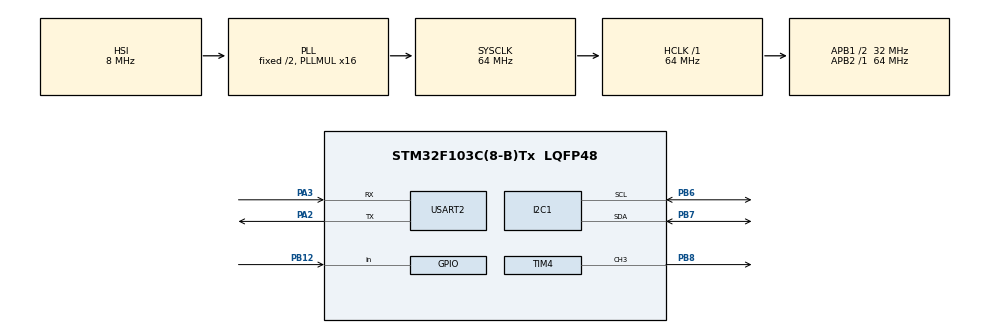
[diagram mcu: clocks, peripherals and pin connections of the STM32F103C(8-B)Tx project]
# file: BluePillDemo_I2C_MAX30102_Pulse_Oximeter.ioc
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I2C1.I2C_Mode=I2C_Fast
Mcu.Family=STM32F1
Mcu.Name=STM32F103C(8-B)Tx
Mcu.Package=LQFP48
NVIC.PriorityGroup=NVIC_PRIORITYGROUP_4
PA13.Mode=Serial_Wire
PA13.Signal=SYS_JTMS-SWDIO
PA14.Mode=Serial_Wire
PA14.Signal=SYS_JTCK-SWCLK
PA2.Mode=Asynchronous
PA2.Signal=USART2_TX
PA3.Mode=Asynchronous
PA3.Signal=USART2_RX
PB12.Signal=GPIO_Input
PB6.Mode=I2C
PB6.Signal=I2C1_SCL
PB7.Mode=I2C
PB7.Signal=I2C1_SDA
PB8.Signal=S_TIM4_CH3
ProjectManager.HeapSize=0x200
ProjectManager.StackSize=0x400
ProjectManager.TargetToolchain=STM32CubeIDE
RCC.AHBFreq_Value=64000000
RCC.APB1CLKDivider=RCC_HCLK_DIV2
RCC.APB1Freq_Value=32000000
RCC.APB1TimFreq_Value=64000000
RCC.APB2Freq_Value=64000000
RCC.APB2TimFreq_Value=64000000
RCC.HCLKFreq_Value=64000000
RCC.PLLMUL=RCC_PLL_MUL16
RCC.SYSCLKFreq_VALUE=64000000
RCC.SYSCLKSource=RCC_SYSCLKSOURCE_PLLCLK
RCC.USBFreq_Value=64000000
SH.S_TIM4_CH3.0=TIM4_CH3,PWM Generation3 CH3
TIM4.Channel-PWM\ Generation3\ CH3=TIM_CHANNEL_3
TIM4.Period=500
TIM4.Prescaler=1
TIM4.Pulse-PWM\ Generation3\ CH3=350
USART2.VirtualMode=VM_ASYNC
board=custom

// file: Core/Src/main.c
/* USER CODE BEGIN Header */
/**
  ******************************************************************************
  * @file           : main.c
  * @brief          : Main program body
  ******************************************************************************
  * @attention
  *
  * <h2><center>&copy; Copyright (c) 2020 STMicroelectronics.
  * All rights reserved.</center></h2>
  *
  * This software component is licensed by ST under BSD 3-Clause license,
  * the "License"; You may not use this file except in compliance with the
  * License. You may obtain a copy of the License at:
  *                        opensource.org/licenses/BSD-3-Clause
  *
  ******************************************************************************
  */
/* USER CODE END Header */

#include "main.h"

/* USER CODE BEGIN Includes */
#include <stdbool.h>
#include <stdint.h>
#include <string.h>
#include "MAX30102.h"
#include "printf.h"
#include "algorithm_by_RF.h"

/* USER CODE END Includes */

/* USER CODE BEGIN PM */
#define MAX_BRIGHTNESS 		255U
#define MY_SNPRINTF 		snprintf	// newlib snprintf with float support is too heavy and not threadsafe so using local snprintf from printf.c
										// but this causes a compile warning that float support is off so use this macro to prevent it
#define FAKE_MAX30102_CLONE				// if you have a fake Chinese cloned MAX30102 define this

/* USER CODE END PM */

I2C_HandleTypeDef hi2c1;

TIM_HandleTypeDef htim4;

UART_HandleTypeDef huart2;

/* USER CODE BEGIN PV */
static uint32_t aun_ir_buffer[BUFFER_SIZE]; //infrared LED sensor data
static uint32_t aun_red_buffer[BUFFER_SIZE];  //red LED sensor data

/* USER CODE END PV */

void SystemClock_Config(void);
static void MX_GPIO_Init(void);
static void MX_I2C1_Init(void);
static void MX_TIM4_Init(void);
static void MX_USART2_UART_Init(void);
/* USER CODE BEGIN PFP */
static void Max30102Setup(void);
static void Max30102Loop(void);
static void DebugPrint(const char *text);
void SetPwmDutyCycle(uint8_t percent);

/* USER CODE END PFP */

/* USER CODE BEGIN 0 */
static void DebugPrint(const char *text)
{
  HAL_UART_Transmit(&huart2, (uint8_t *)text, strlen(text), 100U);
}

void SetPwmDutyCycle(uint8_t percent)
{
  TIM_OC_InitTypeDef sConfigOC = {0};

  sConfigOC.OCMode = TIM_OCMODE_PWM1;
  sConfigOC.Pulse = percent * 5U;
  sConfigOC.OCPolarity = TIM_OCPOLARITY_HIGH;
  sConfigOC.OCFastMode = TIM_OCFAST_DISABLE;
  HAL_TIM_PWM_ConfigChannel(&htim4, &sConfigOC, TIM_CHANNEL_3);
  HAL_TIM_PWM_Start(&htim4, TIM_CHANNEL_3);
}

void Max30102Setup()
{
  uint8_t uch_dummy;

  maxim_max30102_reset();
  maxim_max30102_read_reg(REG_INTR_STATUS_1, &uch_dummy);  // reads/clears the interrupt status register
  maxim_max30102_init();
}

// Takes samples from MAX30102.  Heart rate and SpO2 are calculated every ST seconds
void Max30102Loop()
{
  char buf[20];
  float n_spo2;
  float ratio;
  float correl;
  int8_t ch_spo2_valid;  				// indicator to show if the SPO2 calculation is valid
  int32_t n_heart_rate; 				// heart rate value
  int8_t  ch_hr_valid;  				// indicator to show if the heart rate calculation is valid
  uint8_t i;
  static uint32_t un_min = 0x3FFFFUL;
  static uint32_t un_max = 0UL;
  static uint32_t un_prev_data = 0UL;  	// variables to calculate the on-board LED brightness that reflects the heartbeats
  static float f_brightness = 0UL;
  float f_temp;

  // buffer length of BUFFER_SIZE stores ST seconds of samples running at FS sps
  for (i = 0U; i < BUFFER_SIZE; i++)
  {
	while (HAL_GPIO_ReadPin(GPIOB, GPIO_PIN_12) == GPIO_PIN_SET);	// wait until the interrupt pin asserts

#ifdef FAKE_MAX30102_CLONE
    maxim_max30102_read_fifo((aun_ir_buffer + i), (aun_red_buffer + i));  // read from MAX30102 FIFO
#else
    maxim_max30102_read_fifo((aun_red_buffer + i), (aun_ir_buffer + i));  // read from MAX30102 FIFO
#endif
    // calculate LED brightness
    if (aun_red_buffer[i] > un_prev_data)
    {
      f_temp = aun_red_buffer[i] - un_prev_data;
      f_temp /= (un_max - un_min);
      f_temp *= MAX_BRIGHTNESS;
      f_brightness -= 2.0f * f_temp;
      if (f_brightness < 0.0f)
      {
        f_brightness = 0.0f;
      }
    }
    else
    {
	  f_temp = un_prev_data - aun_red_buffer[i];
	  f_temp /= (un_max - un_min);
	  f_temp *= MAX_BRIGHTNESS;
	  f_brightness += 2.0f * f_temp;
	  if (f_brightness > (float)MAX_BRIGHTNESS)
	  {
		f_brightness = (float)MAX_BRIGHTNESS;
	  }
    }

    SetPwmDutyCycle((uint8_t)(f_brightness * 100.0f / 256.0f));
    un_prev_data = aun_red_buffer[i];
  }

  un_min = 0x3FFFFUL;
  un_max = 0UL;
  for (i = 0U; i < BUFFER_SIZE; i++)
  {
    if (un_min > aun_red_buffer[i])
    {
      un_min = aun_red_buffer[i];    //update signal min for next cycle using values from this cycle
    }
    if (un_max < aun_red_buffer[i])
    {
      un_max = aun_red_buffer[i];    //update signal max for next cycle using values from this cycle
    }
  }

  // calculate heart rate and SpO2 after BUFFER_SIZE samples (ST seconds of samples) using Robert's method
  rf_heart_rate_and_oxygen_saturation(aun_ir_buffer, BUFFER_SIZE, aun_red_buffer, &n_spo2, &ch_spo2_valid, &n_heart_rate, &ch_hr_valid, &ratio, &correl);

  // display results
  if (ch_hr_valid && ch_spo2_valid)
  {
    MY_SNPRINTF(buf, (size_t)20, "%3.1f\t", n_spo2);
    DebugPrint(buf);
    snprintf(buf, (size_t)20, "%d\r\n", n_heart_rate);
    DebugPrint(buf);
  }
  else
  {
    DebugPrint("Not valid. Are you still alive?\r\n");
  }
}

/* USER CODE END 0 */

int main(void)
{

  /* MCU Configuration--------------------------------------------------------*/

  /* Reset of all peripherals, Initializes the Flash interface and the Systick. */
  HAL_Init();

  /* Configure the system clock */
  SystemClock_Config();

  /* Initialize all configured peripherals */
  MX_GPIO_Init();
  MX_I2C1_Init();
  MX_TIM4_Init();
  MX_USART2_UART_Init();
  /* USER CODE BEGIN 2 */
  HAL_TIM_PWM_Start(&htim4, TIM_CHANNEL_3);
  Max30102Setup();

  /* USER CODE END 2 */

  /* Infinite loop */
  while (1)
  {

    /* USER CODE BEGIN 3 */
	  Max30102Loop();
  }
  /* USER CODE END 3 */
}

void SystemClock_Config(void)
{
  RCC_OscInitTypeDef RCC_OscInitStruct = {0};
  RCC_ClkInitTypeDef RCC_ClkInitStruct = {0};

  /** Initializes the CPU, AHB and APB busses clocks
  */
  RCC_OscInitStruct.OscillatorType = RCC_OSCILLATORTYPE_HSI;
  RCC_OscInitStruct.HSIState = RCC_HSI_ON;
  RCC_OscInitStruct.HSICalibrationValue = RCC_HSICALIBRATION_DEFAULT;
  RCC_OscInitStruct.PLL.PLLState = RCC_PLL_ON;
  RCC_OscInitStruct.PLL.PLLSource = RCC_PLLSOURCE_HSI_DIV2;
  RCC_OscInitStruct.PLL.PLLMUL = RCC_PLL_MUL16;
  if (HAL_RCC_OscConfig(&RCC_OscInitStruct) != HAL_OK)
  {
    Error_Handler();
  }
  /** Initializes the CPU, AHB and APB busses clocks
  */
  RCC_ClkInitStruct.ClockType = RCC_CLOCKTYPE_HCLK|RCC_CLOCKTYPE_SYSCLK
                              |RCC_CLOCKTYPE_PCLK1|RCC_CLOCKTYPE_PCLK2;
  RCC_ClkInitStruct.SYSCLKSource = RCC_SYSCLKSOURCE_PLLCLK;
  RCC_ClkInitStruct.AHBCLKDivider = RCC_SYSCLK_DIV1;
  RCC_ClkInitStruct.APB1CLKDivider = RCC_HCLK_DIV2;
  RCC_ClkInitStruct.APB2CLKDivider = RCC_HCLK_DIV1;

  if (HAL_RCC_ClockConfig(&RCC_ClkInitStruct, FLASH_LATENCY_2) != HAL_OK)
  {
    Error_Handler();
  }
}

static void MX_I2C1_Init(void)
{

  hi2c1.Instance = I2C1;
  hi2c1.Init.ClockSpeed = 400000;
  hi2c1.Init.DutyCycle = I2C_DUTYCYCLE_2;
  hi2c1.Init.OwnAddress1 = 0;
  hi2c1.Init.AddressingMode = I2C_ADDRESSINGMODE_7BIT;
  hi2c1.Init.DualAddressMode = I2C_DUALADDRESS_DISABLE;
  hi2c1.Init.OwnAddress2 = 0;
  hi2c1.Init.GeneralCallMode = I2C_GENERALCALL_DISABLE;
  hi2c1.Init.NoStretchMode = I2C_NOSTRETCH_DISABLE;
  if (HAL_I2C_Init(&hi2c1) != HAL_OK)
  {
    Error_Handler();
  }

}

static void MX_TIM4_Init(void)
{

  TIM_MasterConfigTypeDef sMasterConfig = {0};
  TIM_OC_InitTypeDef sConfigOC = {0};

  htim4.Instance = TIM4;
  htim4.Init.Prescaler = 1;
  htim4.Init.CounterMode = TIM_COUNTERMODE_UP;
  htim4.Init.Period = 500;
  htim4.Init.ClockDivision = TIM_CLOCKDIVISION_DIV1;
  htim4.Init.AutoReloadPreload = TIM_AUTORELOAD_PRELOAD_DISABLE;
  if (HAL_TIM_PWM_Init(&htim4) != HAL_OK)
  {
    Error_Handler();
  }
  sMasterConfig.MasterOutputTrigger = TIM_TRGO_RESET;
  sMasterConfig.MasterSlaveMode = TIM_MASTERSLAVEMODE_DISABLE;
  if (HAL_TIMEx_MasterConfigSynchronization(&htim4, &sMasterConfig) != HAL_OK)
  {
    Error_Handler();
  }
  sConfigOC.OCMode = TIM_OCMODE_PWM1;
  sConfigOC.Pulse = 350;
  sConfigOC.OCPolarity = TIM_OCPOLARITY_HIGH;
  sConfigOC.OCFastMode = TIM_OCFAST_DISABLE;
  if (HAL_TIM_PWM_ConfigChannel(&htim4, &sConfigOC, TIM_CHANNEL_3) != HAL_OK)
  {
    Error_Handler();
  }
  HAL_TIM_MspPostInit(&htim4);

}

static void MX_USART2_UART_Init(void)
{

  huart2.Instance = USART2;
  huart2.Init.BaudRate = 115200;
  huart2.Init.WordLength = UART_WORDLENGTH_8B;
  huart2.Init.StopBits = UART_STOPBITS_1;
  huart2.Init.Parity = UART_PARITY_NONE;
  huart2.Init.Mode = UART_MODE_TX_RX;
  huart2.Init.HwFlowCtl = UART_HWCONTROL_NONE;
  huart2.Init.OverSampling = UART_OVERSAMPLING_16;
  if (HAL_UART_Init(&huart2) != HAL_OK)
  {
    Error_Handler();
  }

}

static void MX_GPIO_Init(void)
{
  GPIO_InitTypeDef GPIO_InitStruct = {0};

  /* GPIO Ports Clock Enable */
  __HAL_RCC_GPIOA_CLK_ENABLE();
  __HAL_RCC_GPIOB_CLK_ENABLE();

  /*Configure GPIO pin : PB12 */
  GPIO_InitStruct.Pin = GPIO_PIN_12;
  GPIO_InitStruct.Mode = GPIO_MODE_INPUT;
  GPIO_InitStruct.Pull = GPIO_NOPULL;
  HAL_GPIO_Init(GPIOB, &GPIO_InitStruct);

}

void Error_Handler(void)
{
}

/************************ (C) COPYRIGHT STMicroelectronics *****END OF FILE****/
